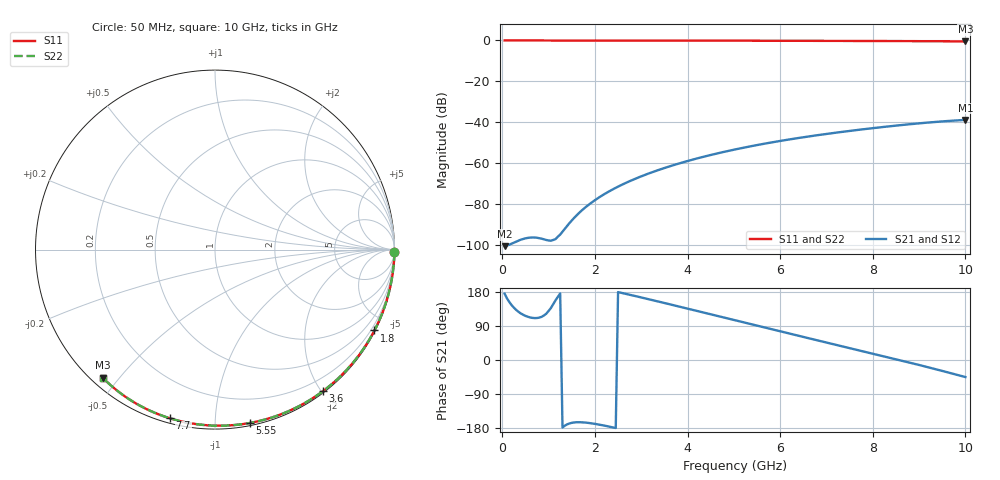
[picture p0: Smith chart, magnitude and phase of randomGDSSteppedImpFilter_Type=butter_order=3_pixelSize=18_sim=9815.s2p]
! freq	dB(S11)	phase(S11)	dB(S12)	phase(S12)
!  dB(S21)	phase(S21)	dB(S22)	phase(S22)
!S-par simulation data
#  GHz  S  DB  R 50
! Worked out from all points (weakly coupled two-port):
!   200 points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, 50 MHz to 10 GHz, reference 50 ohm
!   highest |S21| = -38.81 dB at 10 GHz (marker M1); lowest = -100.5 dB at 50 MHz (marker M2)
!   lowest |S11| = -0.5 dB at 10 GHz (marker M3), VSWR 38.35, Z = 1.57 - j22.6 ohm
!   |S11| at or under -10 dB: nowhere
!   |S22| runs from -0.5 to 0.0 dB; largest |S21 - S12| = 0
!   S11 on the Smith chart (normalised r, x): 50 MHz: open; 1.8 GHz: 0.04, -4.18; 3.6 GHz: 0.02, -2.02; 5.55 GHz: 0.02, -1.22; 7.7 GHz: 0.02, -0.77; 10 GHz: 0.03, -0.45
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0.05  -0.00 -0.8  -100.48 175.0  -100.48 175.0  -0.00 -0.8
0.9  -0.02 -13.6  -97.15 117.6  -97.15 117.6  -0.02 -13.6
1.75  -0.03 -26.2  -82.36 -164.7  -82.36 -164.7  -0.03 -26.2
1.8  -0.03 -26.9  -81.41 -165.2  -81.41 -165.2  -0.03 -26.9
1.85  -0.04 -27.6  -80.51 -165.9  -80.51 -165.9  -0.04 -27.6
1.9  -0.04 -28.4  -79.64 -166.7  -79.64 -166.7  -0.04 -28.4
2.05  -0.04 -30.6  -77.24 -169.6  -77.24 -169.6  -0.04 -30.6
2.25  -0.04 -33.5  -74.43 -174.3  -74.43 -174.3  -0.04 -33.5
2.45  -0.05 -36.3  -71.96 -179.5  -71.96 -179.5  -0.05 -36.3
2.65  -0.05 -39.2  -69.75 175.0  -69.75 175.0  -0.05 -39.2
3  -0.06 -44.2  -66.37 165.1  -66.37 165.1  -0.06 -44.2
3.4  -0.07 -49.8  -63.06 153.4  -63.06 153.4  -0.07 -49.8
3.6  -0.07 -52.6  -61.58 147.5  -61.58 147.5  -0.07 -52.6
4.3  -0.09 -62.2  -57.07 126.7  -57.07 126.7  -0.09 -62.2
5.05  -0.11 -72.1  -53.12 104.2  -53.12 104.2  -0.11 -72.1
5.55  -0.13 -78.6  -50.88 89.2  -50.88 89.2  -0.13 -78.6
6.1  -0.15 -85.5  -48.70 72.7  -48.70 72.7  -0.15 -85.5
6.7  -0.18 -92.9  -46.61 55.0  -46.61 55.0  -0.18 -92.9
7.7  -0.24 -104.9  -43.63 25.7  -43.63 25.7  -0.24 -104.9
8.35  -0.29 -112.5  -41.95 6.6  -41.95 6.6  -0.29 -112.5
9.25  -0.37 -122.8  -39.99 -20.9  -39.99 -20.9  -0.37 -122.8
10  -0.45 -131.2  -38.81 -45.0  -38.81 -45.0  -0.45 -131.2
